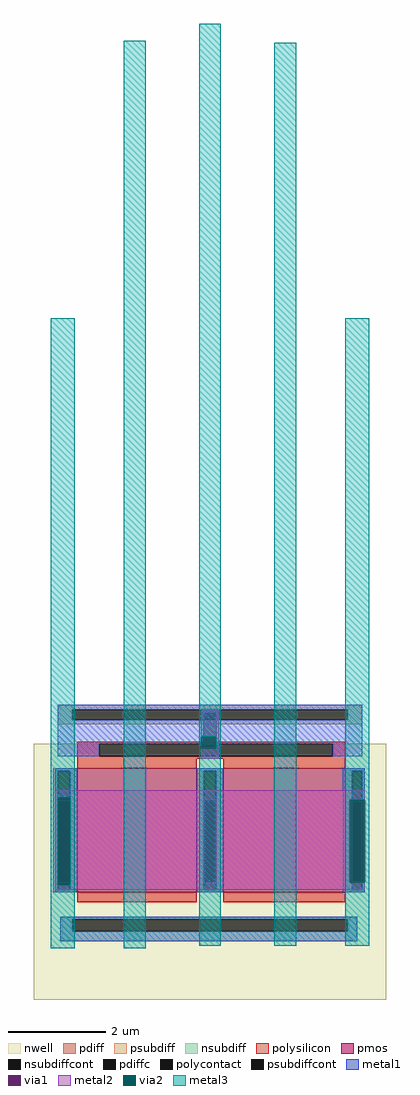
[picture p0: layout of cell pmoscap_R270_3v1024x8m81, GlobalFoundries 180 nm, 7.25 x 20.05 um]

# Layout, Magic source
magic
tech gf180mcuD
<< nwell >>
rect -22 -21 123 84
<< pmos >>
rect -4 23 45 74
rect 56 23 106 74
<< pdiff >>
rect -14 73 -4 74
rect -14 24 -12 73
rect -7 24 -4 73
rect -14 23 -4 24
rect 45 73 56 74
rect 45 24 48 73
rect 53 24 56 73
rect 45 23 56 24
rect 106 73 114 74
rect 106 24 109 73
rect 113 24 114 73
rect 106 23 114 24
<< pdiffc >>
rect -12 24 -7 73
rect 48 24 53 73
rect 109 24 113 73
<< psubdiff >>
rect -12 98 113 100
rect -12 94 -6 98
rect 107 94 113 98
rect -12 92 113 94
<< nsubdiff >>
rect -11 12 111 13
rect -11 7 -6 12
rect 107 7 111 12
rect -11 3 111 7
<< psubdiffcont >>
rect -6 94 107 98
<< nsubdiffcont >>
rect -6 7 107 12
<< polysilicon >>
rect -4 84 106 85
rect -4 79 5 84
rect 101 79 106 84
rect -4 78 106 79
rect -4 74 45 78
rect 56 74 106 78
rect -4 19 45 23
rect 56 19 106 23
<< polycontact >>
rect 5 79 101 84
<< metal1 >>
rect -12 98 113 100
rect -12 94 -6 98
rect 107 94 113 98
rect -12 84 48 94
rect 53 84 113 94
rect -12 79 5 84
rect 101 79 113 84
rect -12 79 113 79
rect -13 73 -4 74
rect -13 61 -12 73
rect -7 61 -4 73
rect -13 27 -12 61
rect -7 27 -4 61
rect -13 24 -12 27
rect -7 24 -4 27
rect -13 23 -4 24
rect 45 73 56 74
rect 45 61 48 73
rect 53 61 56 73
rect 45 27 48 61
rect 53 27 56 61
rect 45 24 48 27
rect 53 24 56 27
rect 45 24 56 24
rect 45 23 56 24
rect 105 73 114 74
rect 105 61 109 73
rect 113 61 114 73
rect 105 27 108 61
rect 114 27 114 61
rect 105 24 109 27
rect 113 24 114 27
rect 105 23 114 24
rect -11 12 111 13
rect -11 7 -6 12
rect 107 7 111 12
rect -11 3 111 7
<< via1 >>
rect 48 94 53 97
rect 48 84 53 94
rect 48 82 53 84
rect -12 27 -12 61
rect -12 27 -7 61
rect -7 27 -7 61
rect 48 27 48 61
rect 48 27 53 61
rect 53 27 53 61
rect 108 27 109 61
rect 109 27 113 61
rect 113 27 114 61
<< metal2 >>
rect 47 97 54 98
rect 47 87 48 97
rect 53 87 54 97
rect 47 82 47 87
rect 53 82 54 87
rect 47 78 54 82
rect -13 62 114 65
rect -13 26 -12 62
rect -7 61 114 62
rect -7 27 48 61
rect 53 27 108 61
rect 114 27 114 61
rect -7 26 114 27
rect -13 24 114 26
<< via2 >>
rect 47 82 48 87
rect 48 82 53 87
rect 53 82 53 87
rect 47 82 53 82
rect -12 61 -7 62
rect -12 27 -7 61
rect 108 27 114 61
rect -12 26 -7 27
<< metal3 >>
rect -15 62 -5 259
rect -15 26 -12 62
rect -7 26 -5 62
rect -15 0 -5 26
rect 15 0 24 373
rect 46 87 55 380
rect 46 82 47 87
rect 53 82 55 87
rect 46 1 55 82
rect 77 1 86 372
rect 106 61 116 259
rect 106 27 108 61
rect 114 27 116 61
rect 106 1 116 27
<< end >>
